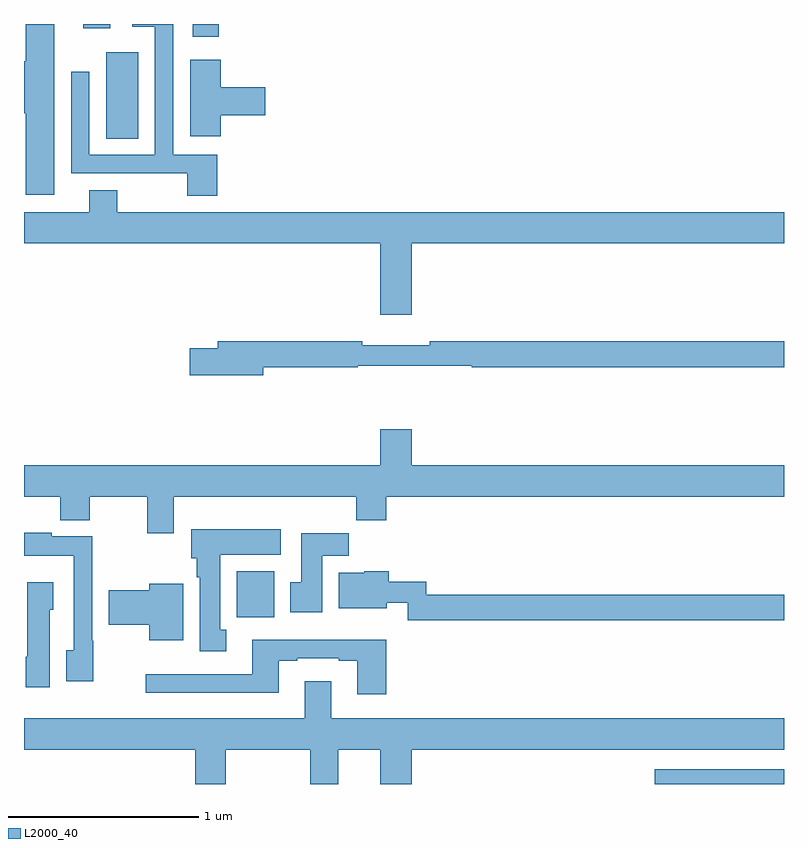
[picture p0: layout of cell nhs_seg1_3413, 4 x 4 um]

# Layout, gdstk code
import gdstk
lib = gdstk.Library(unit=1e-6, precision=1e-09)
def R(c, l, rs):  # rectangles x0, y0, x1, y1
    for r in rs: c.add(gdstk.rectangle(r[:2], r[2:], *l))
def P(c, l, *ps):  # polygons
    for p in ps: c.add(gdstk.Polygon(p, *l))
L2000_40 = (2000, 40)

nhs_seg1_3413 = lib.new_cell('nhs_seg1_3413')
R(nhs_seg1_3413, L2000_40, [(298.321,570.199,299,570.276), (296.12,571.076,296.317,571.318), (295.433,573.595,295.6,574.051), (295.889,574.131,296.024,574.199), (295.313,574.176,295.453,574.199)])
P(nhs_seg1_3413, L2000_40, [(295.159,574.199),(295.01,574.199),(295.01,574.004),(295,574.004),(295,573.73),(295.01,573.73),(295.01,573.3),(295.159,573.3)],
  [(296.018,573.51),(295.785,573.51),(295.785,574.199),(295.569,574.199),(295.569,574.184),(295.689,574.184),(295.689,573.51),(295.344,573.51),(295.344,573.949),(295.248,573.949),(295.248,573.414),(295.592,573.414),(295.592,573.413),(295.858,573.413),(295.858,573.294),(296.018,573.294)],
  [(296.036,573.719),(296.269,573.719),(296.269,573.866),(296.036,573.866),(296.036,574.012),(295.874,574.012),(295.874,573.609),(296.036,573.609)],
  [(297.04,573.044),(299,573.044),(299,573.208),(295.491,573.208),(295.491,573.325),(295.343,573.325),(295.343,573.208),(295,573.208),(295,573.044),(296.876,573.044),(296.876,572.67),(297.04,572.67)],
  [(296.26,572.392),(296.756,572.392),(296.756,572.4),(297.356,572.4),(297.356,572.392),(299,572.392),(299,572.528),(297.136,572.528),(297.136,572.509),(296.78,572.509),(296.78,572.528),(296.021,572.528),(296.021,572.492),(295.872,572.492),(295.872,572.35),(296.26,572.35)],
  [(295.789,571.712),(296.749,571.712),(296.749,571.588),(296.906,571.588),(296.906,571.712),(299,571.712),(299,571.876),(297.04,571.876),(297.04,572.065),(296.876,572.065),(296.876,571.876),(295,571.876),(295,571.712),(295.192,571.712),(295.192,571.588),(295.347,571.588),(295.347,571.712),(295.649,571.712),(295.649,571.518),(295.789,571.518)],
  [(296.065,571.01),(296.032,571.01),(296.032,571.406),(296.35,571.406),(296.35,571.54),(295.88,571.54),(295.88,571.386),(295.91,571.386),(295.91,571.286),(295.925,571.286),(295.925,570.897),(296.065,570.897)],
  [(295.364,570.953),(295.359,570.953),(295.359,571.503),(295.146,571.503),(295.146,571.521),(295,571.521),(295,571.4),(295.263,571.4),(295.263,570.902),(295.223,570.902),(295.223,570.741),(295.364,570.741)],
  [(296.569,571.4),(296.708,571.4),(296.708,571.519),(296.459,571.519),(296.459,571.26),(296.402,571.26),(296.402,571.104),(296.569,571.104)],
  [(299,571.196),(297.117,571.196),(297.117,571.264),(296.921,571.264),(296.921,571.318),(296.79,571.318),(296.79,571.312),(296.657,571.312),(296.657,571.124),(296.908,571.124),(296.908,571.154),(297.021,571.154),(297.021,571.06),(299,571.06)],
  [(295.135,571.116),(295.153,571.116),(295.153,571.261),(295.016,571.261),(295.016,570.87),(295.01,570.87),(295.01,570.708),(295.135,570.708)],
  [(295.837,571.252),(295.658,571.252),(295.658,571.22),(295.446,571.22),(295.446,571.037),(295.658,571.037),(295.658,570.956),(295.837,570.956)],
  [(296.906,570.958),(296.201,570.958),(296.201,570.777),(295.641,570.777),(295.641,570.68),(296.341,570.68),(296.341,570.849),(296.437,570.849),(296.437,570.861),(296.657,570.861),(296.657,570.849),(296.753,570.849),(296.753,570.672),(296.906,570.672)],
  [(296.061,570.38),(296.506,570.38),(296.506,570.199),(296.653,570.199),(296.653,570.38),(296.876,570.38),(296.876,570.199),(297.04,570.199),(297.04,570.38),(299,570.38),(299,570.544),(296.617,570.544),(296.617,570.739),(296.477,570.739),(296.477,570.544),(295,570.544),(295,570.38),(295.901,570.38),(295.901,570.199),(296.061,570.199)])

lib.write_gds('nhs_seg1_3413.gds')
